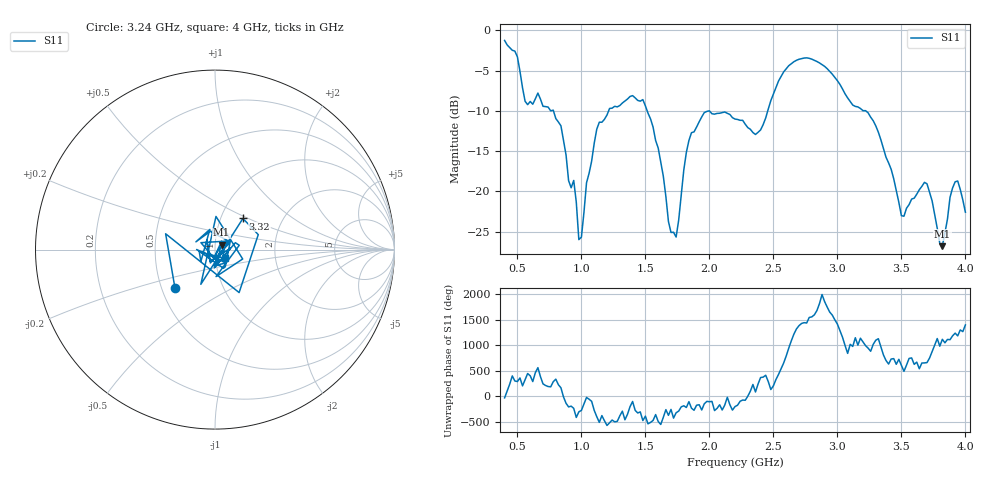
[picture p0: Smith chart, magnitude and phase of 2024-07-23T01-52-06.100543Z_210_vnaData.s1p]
!Created with skrf (http://scikit-rf.org).
# Hz S RI R 50.0
!freq ReS11 ImS11
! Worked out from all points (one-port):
!   181 points, 400 MHz to 4 GHz, reference 50 ohm
!   lowest |S11| = -26.8 dB at 3.82 GHz (marker M1), VSWR 1.10, Z = 53.7 + j2.91 ohm
!   |S11| at or under -10 dB: 1.514 GHz to 1.999 GHz (485.6 MHz wide, 27.6 % of centre); 2 GHz to 2.456 GHz (455.7 MHz wide, 20.5 % of centre); 3.222 GHz to end of sweep (the widest 3 of 4)
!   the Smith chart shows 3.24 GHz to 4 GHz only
!   S11 on the Smith chart (normalised r, x): 3.24 GHz: 0.59, -0.27; 3.32 GHz: 1.27, +0.47; 4 GHz: 1.11, -0.11
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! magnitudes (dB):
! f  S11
! 400 MHz  -1.3
! 500 MHz  -3.3
! 560 MHz  -8.8
! 660 MHz  -7.8
! 860 MHz  -13.6
! 900 MHz  -18.7
! 940 MHz  -18.6
! 980 MHz  -26.0
! 1.12 GHz  -12.3
! 1.3 GHz  -9.3
! 1.48 GHz  -8.6
! 1.6 GHz  -14.6
! 1.7 GHz  -25.1
! 1.76 GHz  -23.6
! 1.86 GHz  -12.7
! 2.2 GHz  -11.0
! 2.4 GHz  -12.4
! 2.66 GHz  -3.9
! 2.9 GHz  -4.5
! 3.1 GHz  -8.8
! 3.24 GHz  -10.2
! 3.32 GHz  -12.6
! 3.5 GHz  -23.0
! 3.56 GHz  -21.6
! 3.7 GHz  -19.1
! 3.82 GHz  -26.8
! 3.92 GHz  -18.8
! 4 GHz  -22.6
